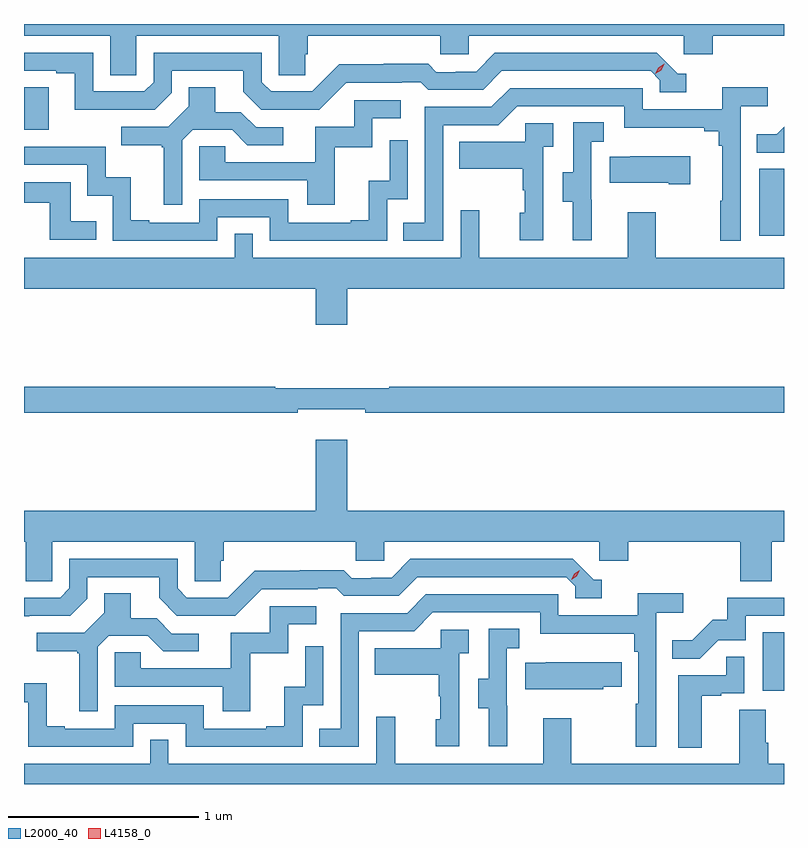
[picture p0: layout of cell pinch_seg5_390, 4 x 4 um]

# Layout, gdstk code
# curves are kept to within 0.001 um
import gdstk
lib = gdstk.Library(unit=1e-6, precision=1e-09)
def R(c, l, rs):  # rectangles x0, y0, x1, y1
    for r in rs: c.add(gdstk.rectangle(r[:2], r[2:], *l))
def P(c, l, *ps):  # polygons
    for p in ps: c.add(gdstk.Polygon(p, *l))
L2000_40 = (2000, 40)
L4158_0 = (4158, 0)

pinch_seg5_390 = lib.new_cell('pinch_seg5_390')
R(pinch_seg5_390, L2000_40, [(1006.52,867.966,1006.632,868.273), (1006.502,870.36,1006.632,870.711), (1002.632,870.918,1002.763,871.142)])
P(pinch_seg5_390, L2000_40, [(1002.632,871.412),(1003.085,871.412),(1003.085,871.204),(1003.224,871.204),(1003.224,871.412),(1003.974,871.412),(1003.974,871.204),(1004.111,871.204),(1004.111,871.314),(1004.126,871.314),(1004.126,871.412),(1004.823,871.412),(1004.823,871.314),(1004.973,871.314),(1004.973,871.412),(1006.104,871.412),(1006.104,871.314),(1006.256,871.314),(1006.256,871.412),(1006.632,871.412),(1006.632,871.474),(1002.632,871.474)],
  [(1003.104,871.023),(1003.32,871.023),(1003.41,871.113),(1003.41,871.227),(1003.787,871.227),(1003.787,871.117),(1003.881,871.023),(1004.187,871.023),(1004.328,871.164),(1004.621,871.164),(1004.621,871.167),(1004.72,871.167),(1004.759,871.128),(1005.048,871.128),(1005.147,871.227),(1005.93,871.227),(1005.978,871.179),(1005.978,871.116),(1006.117,871.116),(1006.117,871.212),(1006.074,871.212),(1005.963,871.323),(1005.11,871.323),(1005.011,871.224),(1004.904,871.224),(1004.904,871.221),(1004.801,871.221),(1004.759,871.264),(1004.526,871.264),(1004.526,871.261),(1004.29,871.261),(1004.148,871.119),(1003.932,871.119),(1003.884,871.167),(1003.884,871.323),(1003.314,871.323),(1003.314,871.167),(1003.266,871.119),(1002.996,871.119),(1002.996,871.323),(1002.632,871.323),(1002.632,871.227),(1002.803,871.227),(1002.803,871.215),(1002.899,871.215),(1002.899,871.022)],
  [(1003.464,870.861),(1003.521,870.918),(1003.727,870.918),(1003.808,870.837),(1003.996,870.837),(1003.996,870.93),(1003.854,870.93),(1003.774,871.01),(1003.639,871.01),(1003.639,871.142),(1003.499,871.142),(1003.499,871.04),(1003.392,870.933),(1003.143,870.933),(1003.143,870.836),(1003.356,870.836),(1003.356,870.825),(1003.367,870.825),(1003.367,870.522),(1003.464,870.522)],
  [(1004.838,870.942),(1005.129,870.942),(1005.228,871.041),(1005.792,871.041),(1005.792,870.929),(1006.211,870.929),(1006.211,870.91),(1006.288,870.91),(1006.288,870.833),(1006.307,870.833),(1006.307,870.545),(1006.296,870.545),(1006.296,870.333),(1006.404,870.333),(1006.404,871.04),(1006.546,871.04),(1006.546,871.142),(1006.307,871.142),(1006.307,871.026),(1005.888,871.026),(1005.888,871.137),(1005.191,871.137),(1005.092,871.038),(1004.742,871.038),(1004.742,870.429),(1004.629,870.429),(1004.629,870.333),(1004.838,870.333)],
  [(1004.267,870.825),(1004.466,870.825),(1004.466,870.978),(1004.614,870.978),(1004.614,871.074),(1004.37,871.074),(1004.37,870.933),(1004.165,870.933),(1004.165,870.747),(1003.691,870.747),(1003.691,870.831),(1003.554,870.831),(1003.554,870.651),(1004.123,870.651),(1004.123,870.522),(1004.267,870.522)],
  [(1005.62,870.549),(1005.618,870.549),(1005.618,870.853),(1005.682,870.853),(1005.682,870.956),(1005.522,870.956),(1005.522,870.693),(1005.467,870.693),(1005.467,870.538),(1005.521,870.538),(1005.521,870.336),(1005.62,870.336)],
  [(1005.366,870.827),(1005.418,870.827),(1005.418,870.951),(1005.27,870.951),(1005.27,870.853),(1004.923,870.853),(1004.923,870.713),(1005.258,870.713),(1005.258,870.599),(1005.268,870.599),(1005.268,870.48),(1005.242,870.48),(1005.242,870.336),(1005.366,870.336)],
  [(1006.632,870.934),(1006.593,870.895),(1006.489,870.895),(1006.489,870.796),(1006.632,870.796)],
  [(1003.65,870.456),(1003.926,870.456),(1003.926,870.333),(1004.544,870.333),(1004.544,870.552),(1004.652,870.552),(1004.652,870.862),(1004.556,870.862),(1004.556,870.65),(1004.447,870.65),(1004.447,870.442),(1004.351,870.442),(1004.351,870.429),(1004.022,870.429),(1004.022,870.552),(1003.554,870.552),(1003.554,870.429),(1003.291,870.429),(1003.291,870.442),(1003.195,870.442),(1003.195,870.667),(1003.062,870.667),(1003.062,870.828),(1002.632,870.828),(1002.632,870.732),(1002.966,870.732),(1002.966,870.569),(1003.098,870.569),(1003.098,870.333),(1003.65,870.333)],
  [(1006.138,870.778),(1005.823,870.778),(1005.823,870.775),(1005.715,870.775),(1005.715,870.638),(1006.025,870.638),(1006.025,870.631),(1006.138,870.631)],
  [(1003.013,870.436),(1002.879,870.436),(1002.879,870.642),(1002.632,870.642),(1002.632,870.534),(1002.768,870.534),(1002.768,870.339),(1003.013,870.339)],
  [(1004.332,870.08),(1006.632,870.08),(1006.632,870.244),(1005.957,870.244),(1005.957,870.484),(1005.809,870.484),(1005.809,870.244),(1005.029,870.244),(1005.029,870.493),(1004.931,870.493),(1004.931,870.244),(1003.836,870.244),(1003.836,870.371),(1003.74,870.371),(1003.74,870.244),(1002.632,870.244),(1002.632,870.08),(1004.168,870.08),(1004.168,869.892),(1004.332,869.892)],
  [(1004.072,869.447),(1004.428,869.447),(1004.428,869.428),(1006.632,869.428),(1006.632,869.564),(1004.555,869.564),(1004.555,869.557),(1003.955,869.557),(1003.955,869.564),(1002.632,869.564),(1002.632,869.428),(1004.072,869.428)],
  [(1002.78,868.748),(1003.53,868.748),(1003.53,868.54),(1003.667,868.54),(1003.667,868.65),(1003.682,868.65),(1003.682,868.748),(1004.379,868.748),(1004.379,868.65),(1004.529,868.65),(1004.529,868.748),(1005.66,868.748),(1005.66,868.65),(1005.812,868.65),(1005.812,868.748),(1006.403,868.748),(1006.403,868.54),(1006.568,868.54),(1006.568,868.748),(1006.632,868.748),(1006.632,868.912),(1004.332,868.912),(1004.332,869.287),(1004.168,869.287),(1004.168,868.912),(1002.632,868.912),(1002.632,868.748),(1002.641,868.748),(1002.641,868.54),(1002.78,868.54)],
  [(1002.66,868.359),(1002.876,868.359),(1002.966,868.449),(1002.966,868.563),(1003.343,868.563),(1003.343,868.453),(1003.437,868.359),(1003.743,868.359),(1003.884,868.5),(1004.177,868.5),(1004.177,868.503),(1004.276,868.503),(1004.315,868.464),(1004.604,868.464),(1004.703,868.563),(1005.486,868.563),(1005.534,868.515),(1005.534,868.452),(1005.673,868.452),(1005.673,868.548),(1005.63,868.548),(1005.519,868.659),(1004.666,868.659),(1004.567,868.56),(1004.46,868.56),(1004.46,868.557),(1004.357,868.557),(1004.315,868.6),(1004.082,868.6),(1004.082,868.597),(1003.846,868.597),(1003.704,868.455),(1003.488,868.455),(1003.44,868.503),(1003.44,868.659),(1002.87,868.659),(1002.87,868.503),(1002.822,868.455),(1002.632,868.455),(1002.632,868.358)],
  [(1004.394,868.278),(1004.685,868.278),(1004.784,868.377),(1005.348,868.377),(1005.348,868.265),(1005.844,868.265),(1005.844,868.169),(1005.864,868.169),(1005.864,867.896),(1005.852,867.896),(1005.852,867.669),(1005.96,867.669),(1005.96,868.376),(1006.102,868.376),(1006.102,868.478),(1005.863,868.478),(1005.863,868.362),(1005.444,868.362),(1005.444,868.473),(1004.747,868.473),(1004.648,868.374),(1004.298,868.374),(1004.298,867.765),(1004.185,867.765),(1004.185,867.669),(1004.394,867.669)],
  [(1003.02,868.197),(1003.077,868.254),(1003.283,868.254),(1003.364,868.173),(1003.552,868.173),(1003.552,868.266),(1003.41,868.266),(1003.33,868.346),(1003.195,868.346),(1003.195,868.478),(1003.055,868.478),(1003.055,868.376),(1002.948,868.269),(1002.699,868.269),(1002.699,868.172),(1002.912,868.172),(1002.912,868.161),(1002.923,868.161),(1002.923,867.858),(1003.02,867.858)],
  [(1006.286,868.23),(1006.431,868.23),(1006.431,868.359),(1006.632,868.359),(1006.632,868.455),(1006.333,868.455),(1006.333,868.338),(1006.256,868.338),(1006.149,868.231),(1006.045,868.231),(1006.045,868.132),(1006.188,868.132)],
  [(1003.823,868.161),(1004.022,868.161),(1004.022,868.314),(1004.17,868.314),(1004.17,868.41),(1003.926,868.41),(1003.926,868.269),(1003.721,868.269),(1003.721,868.083),(1003.247,868.083),(1003.247,868.167),(1003.11,868.167),(1003.11,867.987),(1003.679,867.987),(1003.679,867.858),(1003.823,867.858)],
  [(1005.176,867.885),(1005.174,867.885),(1005.174,868.189),(1005.238,868.189),(1005.238,868.292),(1005.078,868.292),(1005.078,868.029),(1005.023,868.029),(1005.023,867.874),(1005.077,867.874),(1005.077,867.672),(1005.176,867.672)],
  [(1004.922,868.163),(1004.974,868.163),(1004.974,868.287),(1004.826,868.287),(1004.826,868.189),(1004.479,868.189),(1004.479,868.049),(1004.814,868.049),(1004.814,867.935),(1004.824,867.935),(1004.824,867.816),(1004.798,867.816),(1004.798,867.672),(1004.922,867.672)],
  [(1003.206,867.792),(1003.482,867.792),(1003.482,867.669),(1004.1,867.669),(1004.1,867.888),(1004.208,867.888),(1004.208,868.198),(1004.112,868.198),(1004.112,867.986),(1004.003,867.986),(1004.003,867.778),(1003.907,867.778),(1003.907,867.765),(1003.578,867.765),(1003.578,867.888),(1003.11,867.888),(1003.11,867.765),(1002.847,867.765),(1002.847,867.778),(1002.751,867.778),(1002.751,868.003),(1002.632,868.003),(1002.632,867.905),(1002.654,867.905),(1002.654,867.669),(1003.206,867.669)],
  [(1006.198,867.939),(1006.301,867.939),(1006.301,867.951),(1006.422,867.951),(1006.422,868.145),(1006.327,868.145),(1006.327,868.047),(1006.076,868.047),(1006.076,867.665),(1006.198,867.665)],
  [(1005.681,867.985),(1005.779,867.985),(1005.779,868.114),(1005.379,868.114),(1005.379,868.111),(1005.271,868.111),(1005.271,867.974),(1005.681,867.974)],
  [(1006.632,867.58),(1006.55,867.58),(1006.55,867.692),(1006.537,867.692),(1006.537,867.866),(1006.397,867.866),(1006.397,867.58),(1005.513,867.58),(1005.513,867.82),(1005.365,867.82),(1005.365,867.58),(1004.585,867.58),(1004.585,867.829),(1004.487,867.829),(1004.487,867.58),(1003.392,867.58),(1003.392,867.707),(1003.296,867.707),(1003.296,867.58),(1002.632,867.58),(1002.632,867.474),(1006.632,867.474)])
P(pinch_seg5_390, L4158_0, [(1005.955,871.212),(1005.955,871.212),(1005.971,871.245),(1006.002,871.264),(1006.003,871.264),(1006.003,871.264),(1005.986,871.231),(1005.955,871.212)],
  [(1005.511,868.548),(1005.511,868.548),(1005.527,868.581),(1005.558,868.6),(1005.558,868.6),(1005.558,868.6),(1005.542,868.567),(1005.511,868.548)])

lib.write_gds('pinch_seg5_390.gds')
